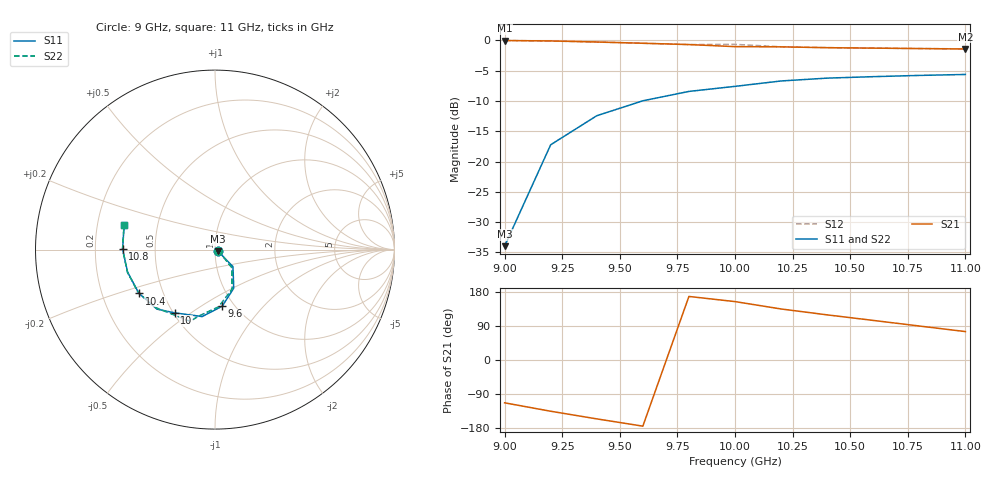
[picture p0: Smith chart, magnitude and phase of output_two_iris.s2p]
! Touchstone file generated by RapidFEM
! Ports: 2
# GHZ S RI R 50
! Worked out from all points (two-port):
!   11 points, 9 GHz to 11 GHz, reference 50 ohm
!   highest |S21| = -0.01 dB at 9 GHz (marker M1); lowest = -1.4 dB at 11 GHz (marker M2)
!   |S21| within 3 dB of the highest: start of sweep to end of sweep
!   lowest |S11| = -34.0 dB at 9 GHz (marker M3), VSWR 1.04, Z = 51.8 - j1.02 ohm
!   |S11| at or under -10 dB: start of sweep to 9.596 GHz
!   |S22| runs from -34.0 to -5.6 dB; largest |S21 - S12| = 0.039
!   S11 on the Smith chart (normalised r, x): 9 GHz: 1.04, -0.02; 9.6 GHz: 0.88, -0.62; 10 GHz: 0.51, -0.43; 10.4 GHz: 0.36, -0.23; 10.8 GHz: 0.32, +0.00; 11 GHz: 0.32, +0.12
9  0.0174 -0.00989  -0.3904 -0.9195  -0.3916 -0.9208  0.0192 -0.0059
9.2  0.1001 -0.0947  -0.7036 -0.6986  -0.7027 -0.6977  0.0943 -0.102
9.4  0.1043 -0.2153  -0.8836 -0.4048  -0.8825 -0.4042  0.095 -0.2209
9.6  0.0402 -0.3153  -0.9445 -0.0899  -0.9441 -0.0904  0.0203 -0.3186
9.8  -0.0714 -0.3731  -0.9043 0.1973  -0.9041 0.1968  -0.0903 -0.3704
10  -0.2252 -0.3523  -0.8006 0.3883  -0.8342 0.409  -0.1392 -0.3994
10.2  -0.3236 -0.3316  -0.6228 0.6303  -0.6239 0.6306  -0.3354 -0.3212
10.4  -0.4238 -0.244  -0.4243 0.7621  -0.4252 0.7626  -0.4308 -0.2334
10.6  -0.4869 -0.1257  -0.216 0.8375  -0.216 0.8376  -0.4873 -0.127
10.8  -0.5148 0.00273  0.00493 0.8578  0.00501 0.858  -0.5153 0.00175
11  -0.5065 0.1351  0.2203 0.8219  0.2208 0.8238  -0.5067 0.1355
